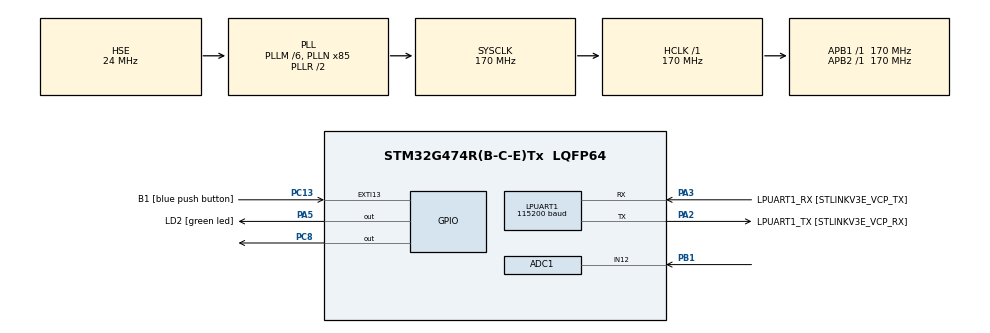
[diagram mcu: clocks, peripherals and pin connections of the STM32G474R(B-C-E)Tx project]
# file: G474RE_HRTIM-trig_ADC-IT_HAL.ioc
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Mcu.Family=STM32G4
NVIC.ADC1_2_IRQn=true\:0\:0\:false\:false\:true\:true\:true
RCC.CortexFreq_Value=170000000
ADC1.Overrun=ADC_OVR_DATA_OVERWRITTEN
PA14.GPIO_Label=T_SWCLK
LPUART1.WordLength=UART_WORDLENGTH_8B
PC13.GPIO_Label=B1 [blue push button]
RCC.SYSCLKSource=RCC_SYSCLKSOURCE_PLLCLK
ProjectManager.StackSize=0x400
HRTIM1.Periode_MASTER=54400
RCC.HCLKFreq_Value=170000000
RCC.APB2TimFreq_Value=170000000
ADC1.InjNumberOfConversion=1
RCC.AHBFreq_Value=170000000
VP_HRTIM1_VS_hrtimMasterTimerNoOutput.Mode=MasterTimer
NVIC.EXTI15_10_IRQn=true\:0\:0\:false\:false\:true\:true\:true
ADC1.Channel-0\#ChannelRegularConversion=ADC_CHANNEL_12
ADC1.ExternalTrigInjecConv=ADC_EXTERNALTRIGINJEC_HRTIM_TRG2
RCC.HSE_VALUE=24000000
PB3.Mode=Trace_Asynchronous_SW
RCC.ADC12Freq_Value=170000000
RCC.RTCClockSelection=RCC_RTCCLKSOURCE_LSE
PC14-OSC32_IN.Mode=LSE-External-Oscillator
PA14.Mode=Trace_Asynchronous_SW
HRTIM1.PrescalerRatio_MASTER=HRTIM_PRESCALERRATIO_MUL16
VP_SYS_VS_DBSignals.Mode=DisableDeadBatterySignals
ADC1.SamplingTime-0\#ChannelRegularConversion=ADC_SAMPLETIME_24CYCLES_5
Mcu.Package=LQFP64
PB1.Signal=ADC1_IN12
ADC1.EnableInjectedConversion=ENABLE
PA2.GPIO_Label=LPUART1_TX [STLINKV3E_VCP_RX]
HRTIM1.ADCTrigger1_Source1=HRTIM_ADCTRIGGEREVENT13_MASTER_PERIOD
ADC1.Rank1_Channel=ADC_CHANNEL_12
HRTIM1.NumberADCTriggerSource2=1
HRTIM1.NumberADCTriggerSource1=1
RCC.APB1TimFreq_Value=170000000
ADC1.InjectedOffsetNumber-1\#ChannelInjectedConversion=ADC_OFFSET_NONE
ADC1.InjectedSamplingTime-1\#ChannelInjectedConversion=ADC_SAMPLETIME_24CYCLES_5
PF1-OSC_OUT.Mode=HSE-External-Oscillator
ADC1.InjectedChannel-1\#ChannelInjectedConversion=ADC_CHANNEL_12
ADC1.EOCSelection=ADC_EOC_SINGLE_CONV
PF1-OSC_OUT.Signal=RCC_OSC_OUT
RCC.HSI48_VALUE=48000000
PA3.Signal=LPUART1_RX
PB3.GPIO_Label=T_SWO
RCC.PLLSourceVirtual=RCC_PLLSOURCE_HSE
PC15-OSC32_OUT.Mode=LSE-External-Oscillator
ADC1.Rank-0\#ChannelRegularConversion=1
ADC1.OffsetNumber-0\#ChannelRegularConversion=ADC_OFFSET_NONE
HRTIM1.ADCTrigger2_Source1=HRTIM_ADCTRIGGEREVENT24_MASTER_CMP1
PC13.Signal=GPXTI13
PC8.Signal=GPIO_Output
RCC.EXTERNAL_CLOCK_VALUE=12288000
PC14-OSC32_IN.Signal=RCC_OSC32_IN
PA13.Signal=SYS_JTMS-SWDIO
PA3.Mode=Asynchronous
ProjectManager.TargetToolchain=STM32CubeIDE
RCC.USBFreq_Value=170000000
PC15-OSC32_OUT.Signal=RCC_OSC32_OUT
PF0-OSC_IN.Mode=HSE-External-Oscillator
HRTIM1.CompareValue1-MasterTimer=54400/2
PA5.Signal=GPIO_Output
HRTIM1.ADCTrigger_Id2=HRTIM_ADCTRIGGER_2
HRTIM1.ADCTrigger_Id1=HRTIM_ADCTRIGGER_1
board=NUCLEO-G474RE
RCC.VCOOutputFreq_Value=340000000
RCC.ADC345Freq_Value=170000000
RCC.APB2Freq_Value=170000000
ADC1.DMAContinuousRequests=DISABLE
PA13.Mode=Trace_Asynchronous_SW
Mcu.Name=STM32G474R(B-C-E)Tx
LPUART1.BaudRate=115200
PA13.GPIO_Label=T_SWDIO
PA2.Signal=LPUART1_TX
ADC1.ExternalTrigConv=ADC_EXTERNALTRIG_HRTIM_TRG1
PB3.Signal=SYS_JTDO-SWO
RCC.SYSCLKFreq_VALUE=170000000
ADC1.master=1
PA5.GPIO_Label=LD2 [green led]
PA14.Signal=SYS_JTCK-SWCLK
ProjectManager.HeapSize=0x200
PB1.Mode=IN12-Single-Ended
RCC.HSI_VALUE=16000000
NVIC.PriorityGroup=NVIC_PRIORITYGROUP_4
ADC1.NbrOfConversionFlag=1
RCC.PLLM=RCC_PLLM_DIV6
RCC.PLLN=85
PA2.Mode=Asynchronous
ADC1.InjectedRank-1\#ChannelInjectedConversion=1
PF0-OSC_IN.Signal=RCC_OSC_IN
RCC.APB1Freq_Value=170000000
HRTIM1.CompareUnit1-MasterTimer=HRTIM_COMPAREUNIT_1
PA3.GPIO_Label=LPUART1_RX [STLINKV3E_VCP_TX]

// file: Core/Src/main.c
/* USER CODE BEGIN Header */
/**
  ******************************************************************************
  * @file           : main.c
  * @brief          : Main program body
  ******************************************************************************
  * @attention
  *
  * <h2><center>&copy; Copyright (c) 2021 STMicroelectronics.
  * All rights reserved.</center></h2>
  *
  * This software component is licensed by ST under BSD 3-Clause license,
  * the "License"; You may not use this file except in compliance with the
  * License. You may obtain a copy of the License at:
  *                        opensource.org/licenses/BSD-3-Clause
  *
  ******************************************************************************
  */
/* USER CODE END Header */
#include "main.h"

ADC_HandleTypeDef hadc1;

HRTIM_HandleTypeDef hhrtim1;

UART_HandleTypeDef hlpuart1;

/* USER CODE BEGIN PV */

uint32_t adc_data;

/* USER CODE END PV */

void SystemClock_Config(void);
static void MX_GPIO_Init(void);
static void MX_LPUART1_UART_Init(void);
static void MX_ADC1_Init(void);
static void MX_HRTIM1_Init(void);

int main(void)
{

  /* MCU Configuration--------------------------------------------------------*/

  /* Reset of all peripherals, Initializes the Flash interface and the Systick. */
  HAL_Init();

  /* Configure the system clock */
  SystemClock_Config();

  /* Initialize all configured peripherals */
  MX_GPIO_Init();
  MX_LPUART1_UART_Init();
  MX_ADC1_Init();
  MX_HRTIM1_Init();
  /* USER CODE BEGIN 2 */

  /*##- Enable Injected ADC Channel IT ##############################*/
  if(HAL_OK != HAL_ADCEx_InjectedStart_IT(&hadc1))
  {
  	/* Start Error */
  	Error_Handler();
  }

  /*##- Enable Regular Injection ADC Channel ##############################*/
  if(HAL_OK != HAL_ADC_Start_IT(&hadc1))
  {
  	/* Start Error */
  	Error_Handler();
  }

  if(HAL_OK != HAL_HRTIM_WaveformCounterStart(&hhrtim1, HRTIM_TIMERID_MASTER))
  {
	Error_Handler();
  }

  /* USER CODE END 2 */

  /* Infinite loop */
  while (1)
  {

  }
}

void SystemClock_Config(void)
{
  RCC_OscInitTypeDef RCC_OscInitStruct = {0};
  RCC_ClkInitTypeDef RCC_ClkInitStruct = {0};
  RCC_PeriphCLKInitTypeDef PeriphClkInit = {0};

  /** Configure the main internal regulator output voltage
  */
  HAL_PWREx_ControlVoltageScaling(PWR_REGULATOR_VOLTAGE_SCALE1_BOOST);
  /** Initializes the RCC Oscillators according to the specified parameters
  * in the RCC_OscInitTypeDef structure.
  */
  RCC_OscInitStruct.OscillatorType = RCC_OSCILLATORTYPE_HSE;
  RCC_OscInitStruct.HSEState = RCC_HSE_ON;
  RCC_OscInitStruct.PLL.PLLState = RCC_PLL_ON;
  RCC_OscInitStruct.PLL.PLLSource = RCC_PLLSOURCE_HSE;
  RCC_OscInitStruct.PLL.PLLM = RCC_PLLM_DIV6;
  RCC_OscInitStruct.PLL.PLLN = 85;
  RCC_OscInitStruct.PLL.PLLP = RCC_PLLP_DIV2;
  RCC_OscInitStruct.PLL.PLLQ = RCC_PLLQ_DIV2;
  RCC_OscInitStruct.PLL.PLLR = RCC_PLLR_DIV2;
  if (HAL_RCC_OscConfig(&RCC_OscInitStruct) != HAL_OK)
  {
    Error_Handler();
  }
  /** Initializes the CPU, AHB and APB buses clocks
  */
  RCC_ClkInitStruct.ClockType = RCC_CLOCKTYPE_HCLK|RCC_CLOCKTYPE_SYSCLK
                              |RCC_CLOCKTYPE_PCLK1|RCC_CLOCKTYPE_PCLK2;
  RCC_ClkInitStruct.SYSCLKSource = RCC_SYSCLKSOURCE_PLLCLK;
  RCC_ClkInitStruct.AHBCLKDivider = RCC_SYSCLK_DIV1;
  RCC_ClkInitStruct.APB1CLKDivider = RCC_HCLK_DIV1;
  RCC_ClkInitStruct.APB2CLKDivider = RCC_HCLK_DIV1;

  if (HAL_RCC_ClockConfig(&RCC_ClkInitStruct, FLASH_LATENCY_4) != HAL_OK)
  {
    Error_Handler();
  }
  /** Initializes the peripherals clocks
  */
  PeriphClkInit.PeriphClockSelection = RCC_PERIPHCLK_LPUART1|RCC_PERIPHCLK_ADC12;
  PeriphClkInit.Lpuart1ClockSelection = RCC_LPUART1CLKSOURCE_PCLK1;
  PeriphClkInit.Adc12ClockSelection = RCC_ADC12CLKSOURCE_SYSCLK;
  if (HAL_RCCEx_PeriphCLKConfig(&PeriphClkInit) != HAL_OK)
  {
    Error_Handler();
  }
}

static void MX_ADC1_Init(void)
{

  ADC_MultiModeTypeDef multimode = {0};
  ADC_ChannelConfTypeDef sConfig = {0};
  ADC_InjectionConfTypeDef sConfigInjected = {0};

  /** Common config
  */
  hadc1.Instance = ADC1;
  hadc1.Init.ClockPrescaler = ADC_CLOCK_SYNC_PCLK_DIV4;
  hadc1.Init.Resolution = ADC_RESOLUTION_12B;
  hadc1.Init.DataAlign = ADC_DATAALIGN_RIGHT;
  hadc1.Init.GainCompensation = 0;
  hadc1.Init.ScanConvMode = ADC_SCAN_DISABLE;
  hadc1.Init.EOCSelection = ADC_EOC_SINGLE_CONV;
  hadc1.Init.LowPowerAutoWait = DISABLE;
  hadc1.Init.ContinuousConvMode = DISABLE;
  hadc1.Init.NbrOfConversion = 1;
  hadc1.Init.DiscontinuousConvMode = DISABLE;
  hadc1.Init.ExternalTrigConv = ADC_EXTERNALTRIG_HRTIM_TRG1;
  hadc1.Init.ExternalTrigConvEdge = ADC_EXTERNALTRIGCONVEDGE_RISING;
  hadc1.Init.DMAContinuousRequests = DISABLE;
  hadc1.Init.Overrun = ADC_OVR_DATA_OVERWRITTEN;
  hadc1.Init.OversamplingMode = DISABLE;
  if (HAL_ADC_Init(&hadc1) != HAL_OK)
  {
    Error_Handler();
  }
  /** Configure the ADC multi-mode
  */
  multimode.Mode = ADC_MODE_INDEPENDENT;
  if (HAL_ADCEx_MultiModeConfigChannel(&hadc1, &multimode) != HAL_OK)
  {
    Error_Handler();
  }
  /** Configure Regular Channel
  */
  sConfig.Channel = ADC_CHANNEL_12;
  sConfig.Rank = ADC_REGULAR_RANK_1;
  sConfig.SamplingTime = ADC_SAMPLETIME_24CYCLES_5;
  sConfig.SingleDiff = ADC_SINGLE_ENDED;
  sConfig.OffsetNumber = ADC_OFFSET_NONE;
  sConfig.Offset = 0;
  if (HAL_ADC_ConfigChannel(&hadc1, &sConfig) != HAL_OK)
  {
    Error_Handler();
  }
  /** Configure Injected Channel
  */
  sConfigInjected.InjectedChannel = ADC_CHANNEL_12;
  sConfigInjected.InjectedRank = ADC_INJECTED_RANK_1;
  sConfigInjected.InjectedSamplingTime = ADC_SAMPLETIME_24CYCLES_5;
  sConfigInjected.InjectedSingleDiff = ADC_SINGLE_ENDED;
  sConfigInjected.InjectedOffsetNumber = ADC_OFFSET_NONE;
  sConfigInjected.InjectedOffset = 0;
  sConfigInjected.InjectedNbrOfConversion = 1;
  sConfigInjected.InjectedDiscontinuousConvMode = DISABLE;
  sConfigInjected.AutoInjectedConv = DISABLE;
  sConfigInjected.QueueInjectedContext = DISABLE;
  sConfigInjected.ExternalTrigInjecConv = ADC_EXTERNALTRIGINJEC_HRTIM_TRG2;
  sConfigInjected.ExternalTrigInjecConvEdge = ADC_EXTERNALTRIGINJECCONV_EDGE_RISING;
  sConfigInjected.InjecOversamplingMode = DISABLE;
  if (HAL_ADCEx_InjectedConfigChannel(&hadc1, &sConfigInjected) != HAL_OK)
  {
    Error_Handler();
  }

}

static void MX_HRTIM1_Init(void)
{

  HRTIM_ADCTriggerCfgTypeDef pADCTriggerCfg = {0};
  HRTIM_TimeBaseCfgTypeDef pTimeBaseCfg = {0};
  HRTIM_TimerCfgTypeDef pTimerCfg = {0};
  HRTIM_CompareCfgTypeDef pCompareCfg = {0};

  hhrtim1.Instance = HRTIM1;
  hhrtim1.Init.HRTIMInterruptResquests = HRTIM_IT_NONE;
  hhrtim1.Init.SyncOptions = HRTIM_SYNCOPTION_NONE;
  if (HAL_HRTIM_Init(&hhrtim1) != HAL_OK)
  {
    Error_Handler();
  }
  if (HAL_HRTIM_DLLCalibrationStart(&hhrtim1, HRTIM_CALIBRATIONRATE_3) != HAL_OK)
  {
    Error_Handler();
  }
  if (HAL_HRTIM_PollForDLLCalibration(&hhrtim1, 10) != HAL_OK)
  {
    Error_Handler();
  }
  pADCTriggerCfg.UpdateSource = HRTIM_ADCTRIGGERUPDATE_MASTER;
  pADCTriggerCfg.Trigger = HRTIM_ADCTRIGGEREVENT13_MASTER_PERIOD;
  if (HAL_HRTIM_ADCTriggerConfig(&hhrtim1, HRTIM_ADCTRIGGER_1, &pADCTriggerCfg) != HAL_OK)
  {
    Error_Handler();
  }
  if (HAL_HRTIM_ADCPostScalerConfig(&hhrtim1, HRTIM_ADCTRIGGER_1, 0x0) != HAL_OK)
  {
    Error_Handler();
  }
  pADCTriggerCfg.Trigger = HRTIM_ADCTRIGGEREVENT24_MASTER_CMP1;
  if (HAL_HRTIM_ADCTriggerConfig(&hhrtim1, HRTIM_ADCTRIGGER_2, &pADCTriggerCfg) != HAL_OK)
  {
    Error_Handler();
  }
  if (HAL_HRTIM_ADCPostScalerConfig(&hhrtim1, HRTIM_ADCTRIGGER_2, 0x0) != HAL_OK)
  {
    Error_Handler();
  }
  pTimeBaseCfg.Period = 54400;
  pTimeBaseCfg.RepetitionCounter = 0x00;
  pTimeBaseCfg.PrescalerRatio = HRTIM_PRESCALERRATIO_MUL16;
  pTimeBaseCfg.Mode = HRTIM_MODE_CONTINUOUS;
  if (HAL_HRTIM_TimeBaseConfig(&hhrtim1, HRTIM_TIMERINDEX_MASTER, &pTimeBaseCfg) != HAL_OK)
  {
    Error_Handler();
  }
  pTimerCfg.InterruptRequests = HRTIM_MASTER_IT_NONE;
  pTimerCfg.DMARequests = HRTIM_MASTER_DMA_NONE;
  pTimerCfg.DMASrcAddress = 0x0000;
  pTimerCfg.DMADstAddress = 0x0000;
  pTimerCfg.DMASize = 0x1;
  pTimerCfg.HalfModeEnable = HRTIM_HALFMODE_DISABLED;
  pTimerCfg.InterleavedMode = HRTIM_INTERLEAVED_MODE_DISABLED;
  pTimerCfg.StartOnSync = HRTIM_SYNCSTART_DISABLED;
  pTimerCfg.ResetOnSync = HRTIM_SYNCRESET_DISABLED;
  pTimerCfg.DACSynchro = HRTIM_DACSYNC_NONE;
  pTimerCfg.PreloadEnable = HRTIM_PRELOAD_DISABLED;
  pTimerCfg.UpdateGating = HRTIM_UPDATEGATING_INDEPENDENT;
  pTimerCfg.BurstMode = HRTIM_TIMERBURSTMODE_MAINTAINCLOCK;
  pTimerCfg.RepetitionUpdate = HRTIM_UPDATEONREPETITION_DISABLED;
  pTimerCfg.ReSyncUpdate = HRTIM_TIMERESYNC_UPDATE_UNCONDITIONAL;

  if (HAL_HRTIM_WaveformTimerConfig(&hhrtim1, HRTIM_TIMERINDEX_MASTER, &pTimerCfg) != HAL_OK)
  {
    Error_Handler();
  }
  pCompareCfg.CompareValue = 54400/2;
  if (HAL_HRTIM_WaveformCompareConfig(&hhrtim1, HRTIM_TIMERINDEX_MASTER, HRTIM_COMPAREUNIT_1, &pCompareCfg) != HAL_OK)
  {
    Error_Handler();
  }

}

static void MX_LPUART1_UART_Init(void)
{

  hlpuart1.Instance = LPUART1;
  hlpuart1.Init.BaudRate = 115200;
  hlpuart1.Init.WordLength = UART_WORDLENGTH_8B;
  hlpuart1.Init.StopBits = UART_STOPBITS_1;
  hlpuart1.Init.Parity = UART_PARITY_NONE;
  hlpuart1.Init.Mode = UART_MODE_TX_RX;
  hlpuart1.Init.HwFlowCtl = UART_HWCONTROL_NONE;
  hlpuart1.Init.OneBitSampling = UART_ONE_BIT_SAMPLE_DISABLE;
  hlpuart1.Init.ClockPrescaler = UART_PRESCALER_DIV1;
  hlpuart1.AdvancedInit.AdvFeatureInit = UART_ADVFEATURE_NO_INIT;
  if (HAL_UART_Init(&hlpuart1) != HAL_OK)
  {
    Error_Handler();
  }
  if (HAL_UARTEx_SetTxFifoThreshold(&hlpuart1, UART_TXFIFO_THRESHOLD_1_8) != HAL_OK)
  {
    Error_Handler();
  }
  if (HAL_UARTEx_SetRxFifoThreshold(&hlpuart1, UART_RXFIFO_THRESHOLD_1_8) != HAL_OK)
  {
    Error_Handler();
  }
  if (HAL_UARTEx_DisableFifoMode(&hlpuart1) != HAL_OK)
  {
    Error_Handler();
  }

}

static void MX_GPIO_Init(void)
{
  GPIO_InitTypeDef GPIO_InitStruct = {0};

  /* GPIO Ports Clock Enable */
  __HAL_RCC_GPIOC_CLK_ENABLE();
  __HAL_RCC_GPIOF_CLK_ENABLE();
  __HAL_RCC_GPIOA_CLK_ENABLE();
  __HAL_RCC_GPIOB_CLK_ENABLE();

  /*Configure GPIO pin Output Level */
  HAL_GPIO_WritePin(LD2_GPIO_Port, LD2_Pin, GPIO_PIN_RESET);

  /*Configure GPIO pin Output Level */
  HAL_GPIO_WritePin(GPIOC, GPIO_PIN_8, GPIO_PIN_RESET);

  /*Configure GPIO pin : B1_Pin */
  GPIO_InitStruct.Pin = B1_Pin;
  GPIO_InitStruct.Mode = GPIO_MODE_IT_RISING;
  GPIO_InitStruct.Pull = GPIO_NOPULL;
  HAL_GPIO_Init(B1_GPIO_Port, &GPIO_InitStruct);

  /*Configure GPIO pin : LD2_Pin */
  GPIO_InitStruct.Pin = LD2_Pin;
  GPIO_InitStruct.Mode = GPIO_MODE_OUTPUT_PP;
  GPIO_InitStruct.Pull = GPIO_NOPULL;
  GPIO_InitStruct.Speed = GPIO_SPEED_FREQ_LOW;
  HAL_GPIO_Init(LD2_GPIO_Port, &GPIO_InitStruct);

  /*Configure GPIO pin : PC8 */
  GPIO_InitStruct.Pin = GPIO_PIN_8;
  GPIO_InitStruct.Mode = GPIO_MODE_OUTPUT_PP;
  GPIO_InitStruct.Pull = GPIO_NOPULL;
  GPIO_InitStruct.Speed = GPIO_SPEED_FREQ_LOW;
  HAL_GPIO_Init(GPIOC, &GPIO_InitStruct);

  /* EXTI interrupt init*/
  HAL_NVIC_SetPriority(EXTI15_10_IRQn, 0, 0);
  HAL_NVIC_EnableIRQ(EXTI15_10_IRQn);

}

/* USER CODE BEGIN 4 */

HAL_ADC_ConvCpltCallback(ADC_HandleTypeDef *hadc)
{
  /* Prevent unused argument(s) compilation warning */
  UNUSED(hadc);

  /* NOTE : This function should not be modified. When the callback is needed,
            function HAL_ADC_ConvCpltCallback must be implemented in the user file.
   */

//  HAL_GPIO_WritePin(GPIOA, GPIO_PIN_5, SET);
  HAL_GPIO_WritePin(GPIOC, GPIO_PIN_8, SET);
  adc_data = HAL_ADC_GetValue(hadc);
}

HAL_ADCEx_InjectedConvCpltCallback(ADC_HandleTypeDef *hadc)
{
  /* Prevent unused argument(s) compilation warning */
  UNUSED(hadc);

  /* NOTE : This function should not be modified. When the callback is needed,
            function HAL_ADCEx_InjectedConvCpltCallback must be implemented in the user file.
  */
//  HAL_GPIO_WritePin(GPIOA, GPIO_PIN_5, SET);
  HAL_GPIO_WritePin(GPIOC, GPIO_PIN_8, RESET);
  adc_data = HAL_ADCEx_InjectedGetValue(hadc, ADC_INJECTED_RANK_1);
}

/* USER CODE END 4 */

void Error_Handler(void)
{
  __disable_irq();
  while (1)
  {
  }
}

/************************ (C) COPYRIGHT STMicroelectronics *****END OF FILE****/
